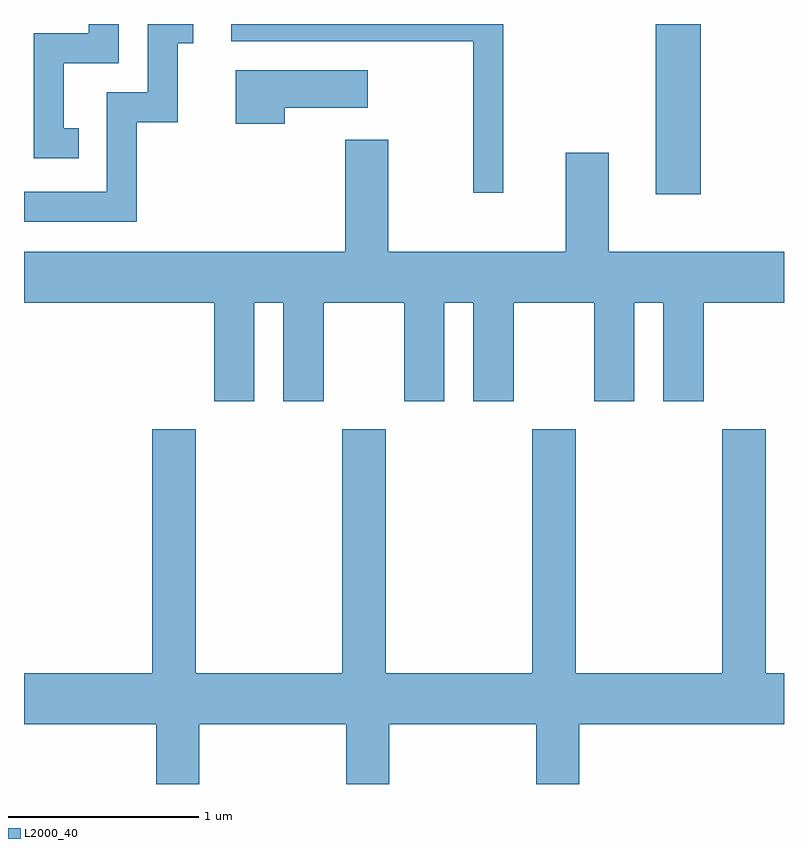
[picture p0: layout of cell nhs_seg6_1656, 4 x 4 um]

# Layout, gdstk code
import gdstk
lib = gdstk.Library(unit=1e-6, precision=1e-09)
def R(c, l, rs):  # rectangles x0, y0, x1, y1
    for r in rs: c.add(gdstk.rectangle(r[:2], r[2:], *l))
def P(c, l, *ps):  # polygons
    for p in ps: c.add(gdstk.Polygon(p, *l))
L2000_40 = (2000, 40)

nhs_seg6_1656 = lib.new_cell('nhs_seg6_1656')
R(nhs_seg6_1656, L2000_40, [(238.936,1557.266,239.174,1558.162)])
P(nhs_seg6_1656, L2000_40, [(236.204,1557.646),(236.419,1557.646),(236.419,1558.061),(236.503,1558.061),(236.503,1558.162),(236.261,1558.162),(236.261,1557.804),(236.046,1557.804),(236.046,1557.279),(235.611,1557.279),(235.611,1557.121),(236.204,1557.121)],
  [(238.134,1558.162),(236.703,1558.162),(236.703,1558.071),(237.976,1558.071),(237.976,1557.273),(238.134,1557.273)],
  [(235.898,1557.614),(235.819,1557.614),(235.819,1557.956),(236.109,1557.956),(236.109,1558.162),(235.951,1558.162),(235.951,1558.114),(235.661,1558.114),(235.661,1557.456),(235.898,1557.456)],
  [(236.984,1557.721),(237.419,1557.721),(237.419,1557.919),(236.726,1557.919),(236.726,1557.636),(236.984,1557.636)],
  [(237.529,1557.554),(237.301,1557.554),(237.301,1556.964),(235.611,1556.964),(235.611,1556.696),(236.611,1556.696),(236.611,1556.176),(236.824,1556.176),(236.824,1556.696),(236.976,1556.696),(236.976,1556.176),(237.189,1556.176),(237.189,1556.696),(237.611,1556.696),(237.611,1556.176),(237.824,1556.176),(237.824,1556.696),(237.976,1556.696),(237.976,1556.176),(238.189,1556.176),(238.189,1556.696),(238.611,1556.696),(238.611,1556.176),(238.824,1556.176),(238.824,1556.696),(238.976,1556.696),(238.976,1556.176),(239.189,1556.176),(239.189,1556.696),(239.611,1556.696),(239.611,1556.964),(238.689,1556.964),(238.689,1557.484),(238.461,1557.484),(238.461,1556.964),(237.529,1556.964)],
  [(236.534,1554.476),(237.306,1554.476),(237.306,1554.162),(237.534,1554.162),(237.534,1554.476),(238.306,1554.476),(238.306,1554.162),(238.534,1554.162),(238.534,1554.476),(239.611,1554.476),(239.611,1554.744),(239.514,1554.744),(239.514,1556.029),(239.286,1556.029),(239.286,1554.744),(238.514,1554.744),(238.514,1556.029),(238.286,1556.029),(238.286,1554.744),(237.514,1554.744),(237.514,1556.029),(237.286,1556.029),(237.286,1554.744),(236.514,1554.744),(236.514,1556.029),(236.286,1556.029),(236.286,1554.744),(235.611,1554.744),(235.611,1554.476),(236.306,1554.476),(236.306,1554.162),(236.534,1554.162)])

lib.write_gds('nhs_seg6_1656.gds')
